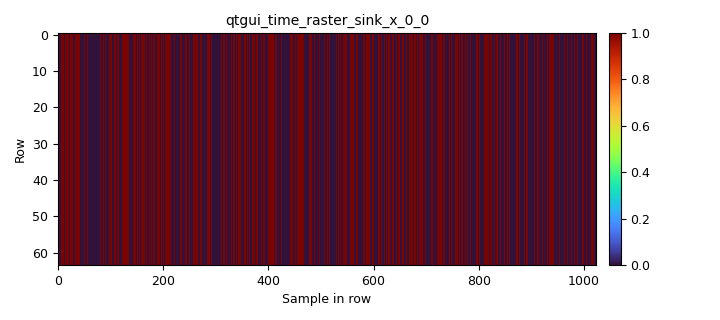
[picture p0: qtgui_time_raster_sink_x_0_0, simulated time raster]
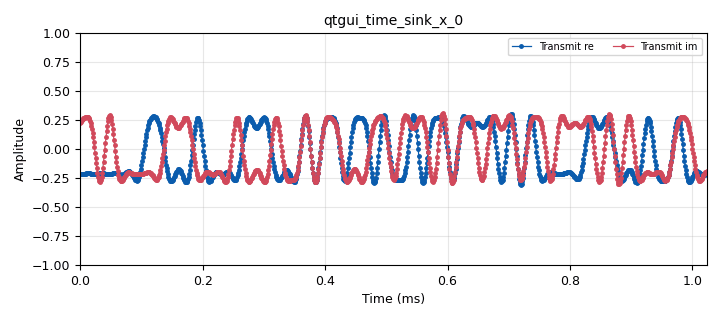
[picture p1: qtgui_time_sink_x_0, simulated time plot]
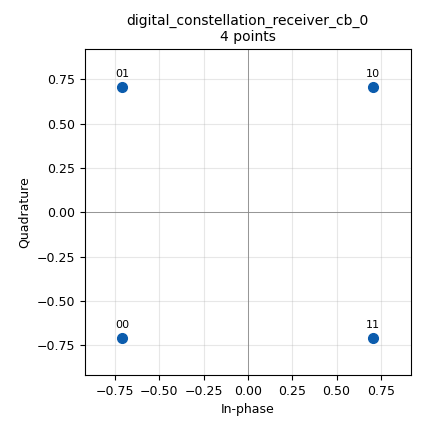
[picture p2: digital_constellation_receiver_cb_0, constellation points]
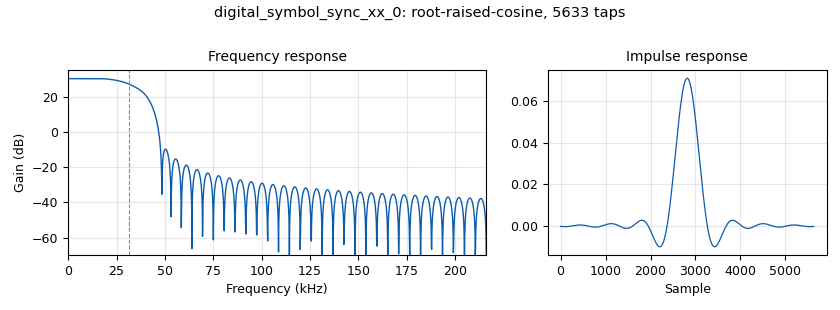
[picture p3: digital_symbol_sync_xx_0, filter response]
options:
  parameters:
    author: jason
    generate_options: qt_gui
    generator_class_name: PythonQtGuiGenerator
    generator_module: gnuradio.grc.workflows.python_qt_gui
    id: lesson20_QPSK_modem
    output_language: python
    title: lesson21_QPSK_modem
  states: {}

blocks:
- name: alpha
  id: variable
  parameters:
    comment: |-
      Can't change alpha in real time
      for Consteallation Modulator
    value: '0.50'
  states: {}
- name: center_freq
  id: variable
  parameters:
    value: 915e6
  states: {}
- name: constellation
  id: variable_constellation
  parameters:
    precision: '8'
    type: 16qam
  states: {state: disabled}
- name: constellation
  id: variable_constellation
  parameters:
    const_points: '[-1-1j, -1+1j, 1+1j, 1-1j]'
    dims: '1'
    normalization: digital.constellation.AMPLITUDE_NORMALIZATION
    precision: '8'
    rot_sym: '4'
    sym_map: '[0, 1, 2, 3]'
    type: calcdist
  states: {}
- name: constellation
  id: variable_constellation
  parameters:
    precision: '8'
    type: bpsk
  states: {state: disabled}
- name: nfilts
  id: variable
  parameters:
    value: '32'
  states: {}
- name: rcc_taps
  id: variable_rrc_filter_taps
  parameters:
    alpha: alpha
    gain: nfilts
    ntaps: 11*sps*nfilts
    samp_rate: nfilts*samp_rate
    sym_rate: samp_rate/sps
  states: {}
- name: rx_gain
  id: variable_qtgui_range
  parameters:
    start: '0'
    step: '1'
    stop: '70'
    value: '20'
  states: {}
- name: samp_rate
  id: variable
  parameters:
    value: 1e6
  states: {}
- name: sps
  id: variable
  parameters:
    value: '16'
  states: {}
- name: ted_gain
  id: variable
  parameters:
    comment: |-
      Expected TED gain = slope of the timing-error S-curve, in error units per SAMPLE of timing offset.
      For the Signal-times-Slope TED with root-raised-cosine pulses it is about
          1.1 * alpha * (AGC reference)^2 / sps        (sps >= 8; about 0.8*alpha/sps at sps = 4)
      measured by simulation (Oct 2026). The AGC reference here is 1.
      GNU Radio's default of 1.0 is ~30x too big for this flowgraph, which makes the loop slow and badly under-damped.
    value: 1.1*alpha/sps
  states: {}
- name: tx_attenuation
  id: variable_qtgui_range
  parameters:
    start: '0'
    step: '1'
    stop: '89'
    value: '10'
  states: {}
- name: analog_agc_xx_0
  id: analog_agc_xx
  parameters:
    gain: '1.0'
    max_gain: '65536'
    rate: '1e-4'
    reference: '1.0'
    type: complex
  states: {}
- name: analog_random_source_x_0
  id: analog_random_source_x
  parameters:
    max: '256'
    min: '0'
    num_samps: 1024//8
    repeat: 'True'
    type: byte
  states: {}
- name: blocks_char_to_float_0_0
  id: blocks_char_to_float
  parameters:
    scale: '1'
  states: {}
- name: blocks_multiply_const_vxx_0
  id: blocks_multiply_const_vxx
  parameters:
    const: '0.3'
    type: complex
  states: {}
- name: blocks_null_sink_0
  id: blocks_null_sink
  parameters:
    type: float
  states: {}
- name: blocks_null_sink_0_0
  id: blocks_null_sink
  parameters:
    type: float
  states: {}
- name: blocks_null_sink_0_0_0
  id: blocks_null_sink
  parameters:
    type: float
  states: {}
- name: blocks_null_sink_0_1
  id: blocks_null_sink
  parameters:
    type: float
  states: {}
- name: blocks_packed_to_unpacked_xx_0
  id: blocks_packed_to_unpacked_xx
  parameters:
    bits_per_chunk: '1'
    endianness: gr.GR_MSB_FIRST
    type: byte
  states: {}
- name: blocks_skiphead_0
  id: blocks_skiphead
  parameters:
    comment: |-
      Skip one second of samples
      to allow AGC and FLL to lock
    num_items: int(samp_rate)
    type: complex
  states: {}
- name: blocks_unpack_k_bits_bb_0
  id: blocks_unpack_k_bits_bb
  parameters:
    k: constellation.bits_per_symbol()
  states: {}
- name: digital_constellation_modulator_0
  id: digital_constellation_modulator
  parameters:
    constellation: constellation
    differential: 'True'
    excess_bw: alpha
    samples_per_symbol: sps
  states: {}
- name: digital_constellation_receiver_cb_0
  id: digital_constellation_receiver_cb
  parameters:
    comment: |-
      Input comes from Symbol Sync
      Includes a Costas Loop to do phase sync
    constellation: constellation
    fmax: math.pi
    fmin: '-math.pi'
    loop_bw: 2*math.pi/100
  states: {}
- name: digital_diff_decoder_bb_0
  id: digital_diff_decoder_bb
  parameters:
    coding: digital.DIFF_DIFFERENTIAL
    modulus: constellation.arity()
  states: {}
- name: digital_fll_band_edge_cc_0
  id: digital_fll_band_edge_cc
  parameters:
    filter_size: sps*2+1
    improved_loop_filter: 'False'
    rolloff: alpha
    samps_per_sym: sps
    type: cc
    w: 2*math.pi/sps/100
  states: {}
- name: digital_symbol_sync_xx_0
  id: digital_symbol_sync_xx
  parameters:
    comment: |-
      If using Polyphase Ffilterbank, MF, it does the
      matched filtering for you, but you need to 
      pass in properly constructed RRC filter taps
      TODO: try the others, but with explicit RRC matched filtering
         don't bother with M&M
    constellation: constellation
    damping: '1.0'
    loop_bw: '0.02'
    max_dev: '.1'
    nfilters: nfilts
    osps: '1'
    pfb_mf_taps: rcc_taps
    resamp_type: digital.IR_PFB_MF
    sps: sps
    ted_gain: ted_gain
    ted_type: digital.TED_SIGNAL_TIMES_SLOPE_ML
    type: cc
  states: {}
- name: iio_pluto_sink_0_0
  id: iio_pluto_sink
  parameters:
    attenuation1: tx_attenuation
    bandwidth: int(samp_rate)
    buffer_size: '32768'
    cyclic: 'False'
    filter_source: '''Auto'''
    frequency: int(center_freq)
    samplerate: int(samp_rate)
    type: fc32
    uri: 192.168.2.1
  states: {}
- name: import_0
  id: import
  parameters:
    imports: |-
      import math
      from gnuradio import gr
  states: {}
- name: qtgui_const_sink_x_1
  id: qtgui_const_sink_x
  parameters:
    label1: Sync
    label2: Costas
    nconnections: '2'
    size: '1024'
    type: complex
  states: {}
- name: qtgui_freq_sink_x_0
  id: qtgui_freq_sink_x
  parameters:
    average: '0.05'
    bw: samp_rate
    fc: '0'
    fftsize: 1024*8
    label1: Receive Raw
    label2: Receive FLL Band-Edge
    nconnections: '2'
    type: complex
  states: {}
- name: qtgui_time_raster_sink_x_0
  id: qtgui_time_raster_sink_x
  parameters:
    ncols: '1024'
    nrows: '64'
    samp_rate: samp_rate
    type: byte
    zmin: '0'
  states: {}
- name: qtgui_time_raster_sink_x_0_0
  id: qtgui_time_raster_sink_x
  parameters:
    ncols: '1024'
    nrows: '64'
    samp_rate: samp_rate
    type: byte
    zmin: '0'
  states: {}
- name: qtgui_time_sink_x_0
  id: qtgui_time_sink_x
  parameters:
    label1: Transmit re
    label2: Transmit im
    marker1: '0'
    marker2: '0'
    size: '1024'
    srate: samp_rate
    type: complex
  states: {}
- name: qtgui_time_sink_x_0_0
  id: qtgui_time_sink_x
  parameters:
    label1: Receive Raw Re
    label2: Receive Raw Im
    size: 1024*8
    srate: samp_rate
    type: complex
  states: {}
- name: qtgui_time_sink_x_0_0_0_0_0_0_1_0
  id: qtgui_time_sink_x
  parameters:
    label1: Constellation Receiver Decoded
    marker1: '0'
    size: '100'
    srate: samp_rate
    type: float
    ymax: constellation.arity()-1+0.2
    ymin: '-.2'
  states: {}
- name: qtgui_time_sink_x_0_0_0_0_0_0_1_0_0
  id: qtgui_time_sink_x
  parameters:
    label1: Sync T_inst
    label2: Sync T_avg
    nconnections: '2'
    size: 1024*8
    srate: samp_rate
    type: float
    ymax: sps*1.01
    ymin: sps*0.99
  states: {}
- name: rtlsdr_source_0
  id: rtlsdr_source
  parameters:
    bb_gain0: '20'
    freq0: center_freq
    gain0: rx_gain
    gain_mode0: 'False'
    if_gain0: '20'
    sample_rate: samp_rate
    sync: sync
    type: fc32
  states: {}

connections:
- [analog_agc_xx_0, '0', digital_fll_band_edge_cc_0, '0']
- [analog_random_source_x_0, '0', blocks_packed_to_unpacked_xx_0, '0']
- [analog_random_source_x_0, '0', digital_constellation_modulator_0, '0']
- [blocks_char_to_float_0_0, '0', qtgui_time_sink_x_0_0_0_0_0_0_1_0, '0']
- [blocks_multiply_const_vxx_0, '0', iio_pluto_sink_0_0, '0']
- [blocks_multiply_const_vxx_0, '0', qtgui_time_sink_x_0, '0']
- [blocks_packed_to_unpacked_xx_0, '0', qtgui_time_raster_sink_x_0_0, '0']
- [blocks_skiphead_0, '0', digital_symbol_sync_xx_0, '0']
- [blocks_unpack_k_bits_bb_0, '0', qtgui_time_raster_sink_x_0, '0']
- [digital_constellation_modulator_0, '0', blocks_multiply_const_vxx_0, '0']
- [digital_constellation_receiver_cb_0, '0', digital_diff_decoder_bb_0, '0']
- [digital_constellation_receiver_cb_0, '1', blocks_null_sink_0_0_0, '0']
- [digital_constellation_receiver_cb_0, '2', blocks_null_sink_0_0, '0']
- [digital_constellation_receiver_cb_0, '3', blocks_null_sink_0, '0']
- [digital_constellation_receiver_cb_0, '4', qtgui_const_sink_x_1, '1']
- [digital_diff_decoder_bb_0, '0', blocks_char_to_float_0_0, '0']
- [digital_diff_decoder_bb_0, '0', blocks_unpack_k_bits_bb_0, '0']
- [digital_fll_band_edge_cc_0, '0', blocks_skiphead_0, '0']
- [digital_fll_band_edge_cc_0, '0', qtgui_freq_sink_x_0, '1']
- [digital_symbol_sync_xx_0, '0', digital_constellation_receiver_cb_0, '0']
- [digital_symbol_sync_xx_0, '0', qtgui_const_sink_x_1, '0']
- [digital_symbol_sync_xx_0, '1', blocks_null_sink_0_1, '0']
- [digital_symbol_sync_xx_0, '2', qtgui_time_sink_x_0_0_0_0_0_0_1_0_0, '0']
- [digital_symbol_sync_xx_0, '3', qtgui_time_sink_x_0_0_0_0_0_0_1_0_0, '1']
- [rtlsdr_source_0, '0', analog_agc_xx_0, '0']
- [rtlsdr_source_0, '0', qtgui_freq_sink_x_0, '0']
- [rtlsdr_source_0, '0', qtgui_time_sink_x_0_0, '0']

metadata:
  file_format: 1
  grc_version: 3.10.12.0
